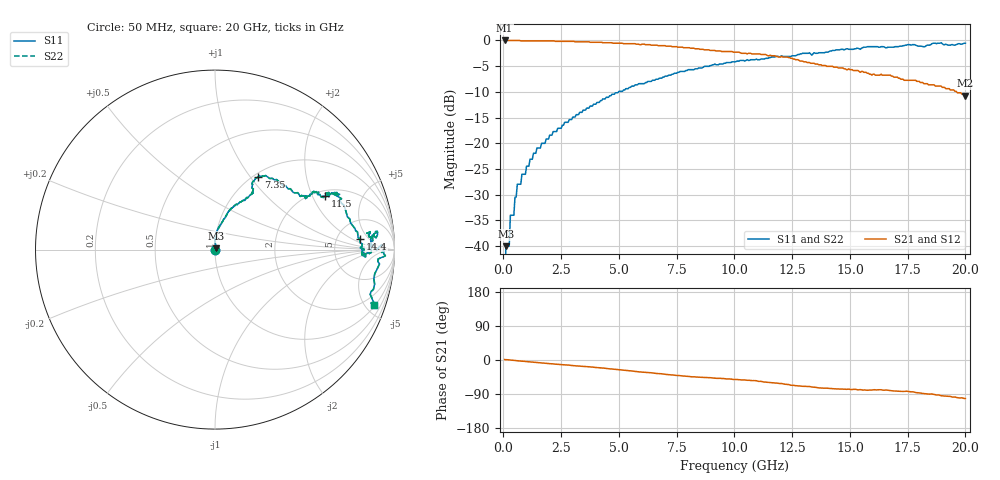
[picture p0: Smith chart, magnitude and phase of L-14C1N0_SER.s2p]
# MHZ S MA R 50
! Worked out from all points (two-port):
!   400 points, 50 MHz to 20 GHz, reference 50 ohm
!   highest |S21| = 0.00 dB at 50 MHz (marker M1); lowest = -10.8 dB at 20 GHz (marker M2)
!   |S21| within 3 dB of the highest: start of sweep to 11.76 GHz
!   lowest |S11| = -40.0 dB at 100 MHz (marker M3), VSWR 1.02, Z = 50.7 + j0.686 ohm
!   |S11| at or under -10 dB: start of sweep to 4.981 GHz
!   |S22| runs from - to -0.4 dB; largest |S21 - S12| = 0
!   S11 on the Smith chart (normalised r, x): 50 MHz: 1.00, +0.00; 7.35 GHz: 1.05, +1.09; 11.5 GHz: 2.25, +2.49; 14.4 GHz: 8.46, +2.99; 20 GHz: 1.07, -5.69
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50  0 14.6  1 1.2  1 1.2  0 14.6
100  0.01 42.5  1 1.0  1 1.0  0.01 42.5
250  0.01 77.5  1 0.3  1 0.3  0.01 77.5
300  0.02 78.9  1 -0.1  1 -0.1  0.02 78.9
450  0.02 76.9  1 -0.8  1 -0.8  0.02 76.9
500  0.03 81.8  1 -1.2  1 -1.2  0.03 81.8
600  0.04 87.9  1 -1.9  1 -1.9  0.04 87.9
750  0.04 87.8  0.99 -2.8  0.99 -2.8  0.04 87.8
800  0.05 88.2  0.99 -3.0  0.99 -3.0  0.05 88.2
1150  0.07 88.3  0.99 -5.0  0.99 -5.0  0.07 88.3
3400  0.2 71.5  0.97 -16.7  0.97 -16.7  0.2 71.5
6700  0.42 60.6  0.89 -35.8  0.89 -35.8  0.42 60.6
7350  0.47 59.2  0.87 -39.5  0.87 -39.5  0.47 59.2
8700  0.56 34.5  0.81 -46.1  0.81 -46.1  0.56 34.5
10050  0.62 29.8  0.77 -51.2  0.77 -51.2  0.62 29.8
11500  0.68 25.9  0.71 -59.4  0.71 -59.4  0.68 25.9
13350  0.72 26.0  0.6 -71.3  0.6 -71.3  0.72 26.0
14400  0.81 4.3  0.55 -76.2  0.55 -76.2  0.81 4.3
15350  0.84 -2.8  0.51 -78.9  0.51 -78.9  0.84 -2.8
16700  0.86 5.9  0.46 -80.3  0.46 -80.3  0.86 5.9
18850  0.94 -0.5  0.36 -92.3  0.36 -92.3  0.94 -0.5
20000  0.94 -19.3  0.29 -101.6  0.29 -101.6  0.94 -19.3
